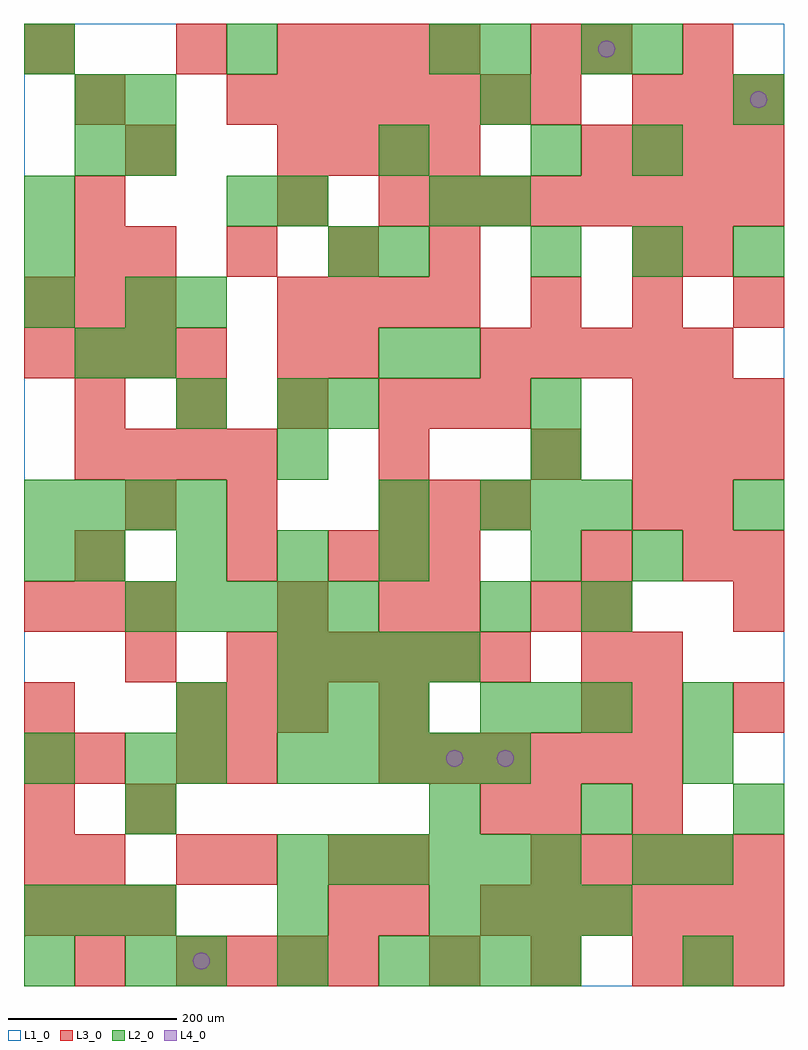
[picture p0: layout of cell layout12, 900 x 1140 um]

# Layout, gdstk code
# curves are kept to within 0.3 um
import gdstk
lib = gdstk.Library(unit=1e-6, precision=1e-09)
def R(c, l, rs):  # rectangles x0, y0, x1, y1
    for r in rs: c.add(gdstk.rectangle(r[:2], r[2:], *l))
def A(c, l, x, y, w, h, nx, ny, dx, dy):  # array of equal rectangles
    R(c, l, [(x+i*dx, y+j*dy, x+i*dx+w, y+j*dy+h) for i in range(nx) for j in range(ny)])
def P(c, l, *ps):  # polygons
    for p in ps: c.add(gdstk.Polygon(p, *l))
L1_0 = (1, 0)
L2_0 = (2, 0)
L3_0 = (3, 0)
L4_0 = (4, 0)

layout12 = lib.new_cell('layout12')
R(layout12, L1_0, [(0,0,900,1140)])
A(layout12, L2_0, 0, 0, 60, 60, 1, 3, 0, 240)
A(layout12, L2_0, 180, 0, 60, 60, 3, 1, 120, 0)
A(layout12, L2_0, 480, 0, 60, 60, 3, 1, 60, 0)
A(layout12, L2_0, 780, 0, 60, 60, 1, 3, 0, 120)
A(layout12, L2_0, 0, 60, 60, 60, 3, 1, 60, 0)
A(layout12, L2_0, 480, 60, 60, 60, 4, 1, 60, 0)
A(layout12, L2_0, 300, 120, 60, 60, 6, 1, 60, 0)
A(layout12, L2_0, 480, 180, 60, 60, 3, 1, 180, 0)
A(layout12, L2_0, 300, 240, 60, 60, 5, 1, 60, 0)
A(layout12, L2_0, 300, 300, 60, 60, 3, 1, 60, 0)
A(layout12, L2_0, 540, 300, 60, 60, 3, 2, 60, 240)
A(layout12, L2_0, 300, 360, 60, 60, 4, 1, 60, 0)
A(layout12, L2_0, 120, 420, 60, 60, 5, 1, 60, 0)
A(layout12, L2_0, 60, 480, 60, 60, 4, 1, 120, 0)
A(layout12, L2_0, 0, 540, 60, 60, 4, 1, 60, 0)
A(layout12, L2_0, 420, 720, 60, 60, 1, 3, 0, 120)
A(layout12, L2_0, 0, 780, 60, 60, 1, 3, 0, 60)
A(layout12, L2_0, 600, 840, 60, 60, 3, 1, 120, 0)
A(layout12, L2_0, 0, 1080, 60, 60, 3, 1, 240, 0)
R(layout12, L2_0, [(120,0,180,60), (300,60,360,120), (720,120,780,180), (120,180,180,240), (120,240,180,300), (180,240,240,300), (180,300,240,360), (780,300,840,360), (540,420,600,480), (660,420,720,480), (600,480,660,540), (720,480,780,540), (420,540,480,600), (840,540,900,600), (300,600,360,660), (600,600,660,660), (180,660,240,720), (300,660,360,720), (360,660,420,720), (600,660,660,720), (60,720,120,780), (120,720,180,780), (480,720,540,780), (120,780,180,840), (180,780,240,840), (360,840,420,900), (240,900,300,960), (300,900,360,960), (480,900,540,960), (540,900,600,960), (60,960,120,1020), (120,960,180,1020), (600,960,660,1020), (720,960,780,1020), (60,1020,120,1080), (120,1020,180,1080), (540,1020,600,1080), (840,1020,900,1080), (540,1080,600,1140), (660,1080,720,1140), (720,1080,780,1140)])
A(layout12, L3_0, 60, 0, 60, 60, 1, 3, 0, 120)
A(layout12, L3_0, 180, 0, 60, 60, 4, 1, 60, 0)
A(layout12, L3_0, 480, 0, 60, 60, 3, 1, 120, 0)
A(layout12, L3_0, 0, 60, 60, 60, 3, 3, 60, 360)
A(layout12, L3_0, 540, 60, 60, 60, 6, 1, 60, 0)
A(layout12, L3_0, 0, 120, 60, 60, 1, 4, 0, 60)
A(layout12, L3_0, 600, 120, 60, 60, 5, 1, 60, 0)
A(layout12, L3_0, 120, 180, 60, 60, 1, 3, 0, 180)
A(layout12, L3_0, 420, 240, 60, 60, 6, 1, 60, 0)
A(layout12, L3_0, 180, 300, 60, 60, 3, 1, 60, 0)
A(layout12, L3_0, 660, 300, 60, 60, 1, 4, 0, 60)
A(layout12, L3_0, 240, 360, 60, 60, 6, 1, 60, 0)
A(layout12, L3_0, 360, 480, 60, 60, 3, 1, 60, 0)
A(layout12, L3_0, 420, 540, 60, 60, 3, 1, 60, 0)
A(layout12, L3_0, 60, 600, 60, 60, 4, 1, 60, 0)
A(layout12, L3_0, 720, 600, 60, 60, 3, 2, 60, 60)
A(layout12, L3_0, 60, 660, 60, 60, 4, 1, 120, 0)
A(layout12, L3_0, 0, 720, 60, 60, 4, 1, 60, 0)
A(layout12, L3_0, 540, 720, 60, 60, 5, 1, 60, 0)
A(layout12, L3_0, 300, 780, 60, 60, 4, 2, 60, 180)
A(layout12, L3_0, 600, 780, 60, 60, 3, 1, 120, 0)
A(layout12, L3_0, 120, 840, 60, 60, 4, 1, 120, 0)
A(layout12, L3_0, 420, 900, 60, 60, 8, 1, 60, 0)
A(layout12, L3_0, 660, 960, 60, 60, 4, 1, 60, 0)
A(layout12, L3_0, 240, 1020, 60, 60, 7, 1, 60, 0)
A(layout12, L3_0, 720, 1020, 60, 60, 3, 1, 60, 0)
A(layout12, L3_0, 300, 1080, 60, 60, 4, 1, 60, 0)
R(layout12, L3_0, [(780,0,840,60), (840,0,900,60), (360,60,420,120), (420,60,480,120), (180,120,240,180), (240,120,300,180), (360,120,420,180), (420,120,480,180), (540,180,600,240), (600,180,660,240), (720,180,780,240), (180,240,240,300), (240,240,300,300), (420,300,480,360), (720,300,780,360), (840,300,900,360), (720,360,780,420), (300,420,360,480), (420,420,480,480), (480,420,540,480), (600,420,660,480), (840,420,900,480), (60,480,120,540), (240,480,300,540), (780,480,840,540), (840,480,900,540), (240,540,300,600), (720,540,780,600), (780,540,840,600), (420,600,480,660), (600,600,660,660), (480,660,540,720), (540,660,600,720), (300,720,360,780), (360,720,420,780), (60,840,120,900), (720,840,780,900), (780,840,840,900), (60,900,120,960), (300,900,360,960), (120,960,180,1020), (60,1020,120,1080), (0,1080,60,1140), (180,1080,240,1140), (600,1080,660,1140), (660,1080,720,1140), (780,1080,840,1140)])
P(layout12, L4_0, [(220,30),(219.239,33.827),(217.071,37.071),(213.827,39.239),(210,40),(206.173,39.239),(202.929,37.071),(200.761,33.827),(200,30),(200.761,26.173),(202.929,22.929),(206.173,20.761),(210,20),(213.827,20.761),(217.071,22.929),(219.239,26.173)],
  [(520,270),(519.239,273.827),(517.071,277.071),(513.827,279.239),(510,280),(506.173,279.239),(502.929,277.071),(500.761,273.827),(500,270),(500.761,266.173),(502.929,262.929),(506.173,260.761),(510,260),(513.827,260.761),(517.071,262.929),(519.239,266.173)],
  [(580,270),(579.239,273.827),(577.071,277.071),(573.827,279.239),(570,280),(566.173,279.239),(562.929,277.071),(560.761,273.827),(560,270),(560.761,266.173),(562.929,262.929),(566.173,260.761),(570,260),(573.827,260.761),(577.071,262.929),(579.239,266.173)],
  [(700,1110),(699.239,1113.827),(697.071,1117.071),(693.827,1119.239),(690,1120),(686.173,1119.239),(682.929,1117.071),(680.761,1113.827),(680,1110),(680.761,1106.173),(682.929,1102.929),(686.173,1100.761),(690,1100),(693.827,1100.761),(697.071,1102.929),(699.239,1106.173)],
  [(880,1050),(879.239,1053.827),(877.071,1057.071),(873.827,1059.239),(870,1060),(866.173,1059.239),(862.929,1057.071),(860.761,1053.827),(860,1050),(860.761,1046.173),(862.929,1042.929),(866.173,1040.761),(870,1040),(873.827,1040.761),(877.071,1042.929),(879.239,1046.173)])

lib.write_gds('layout12.gds')
